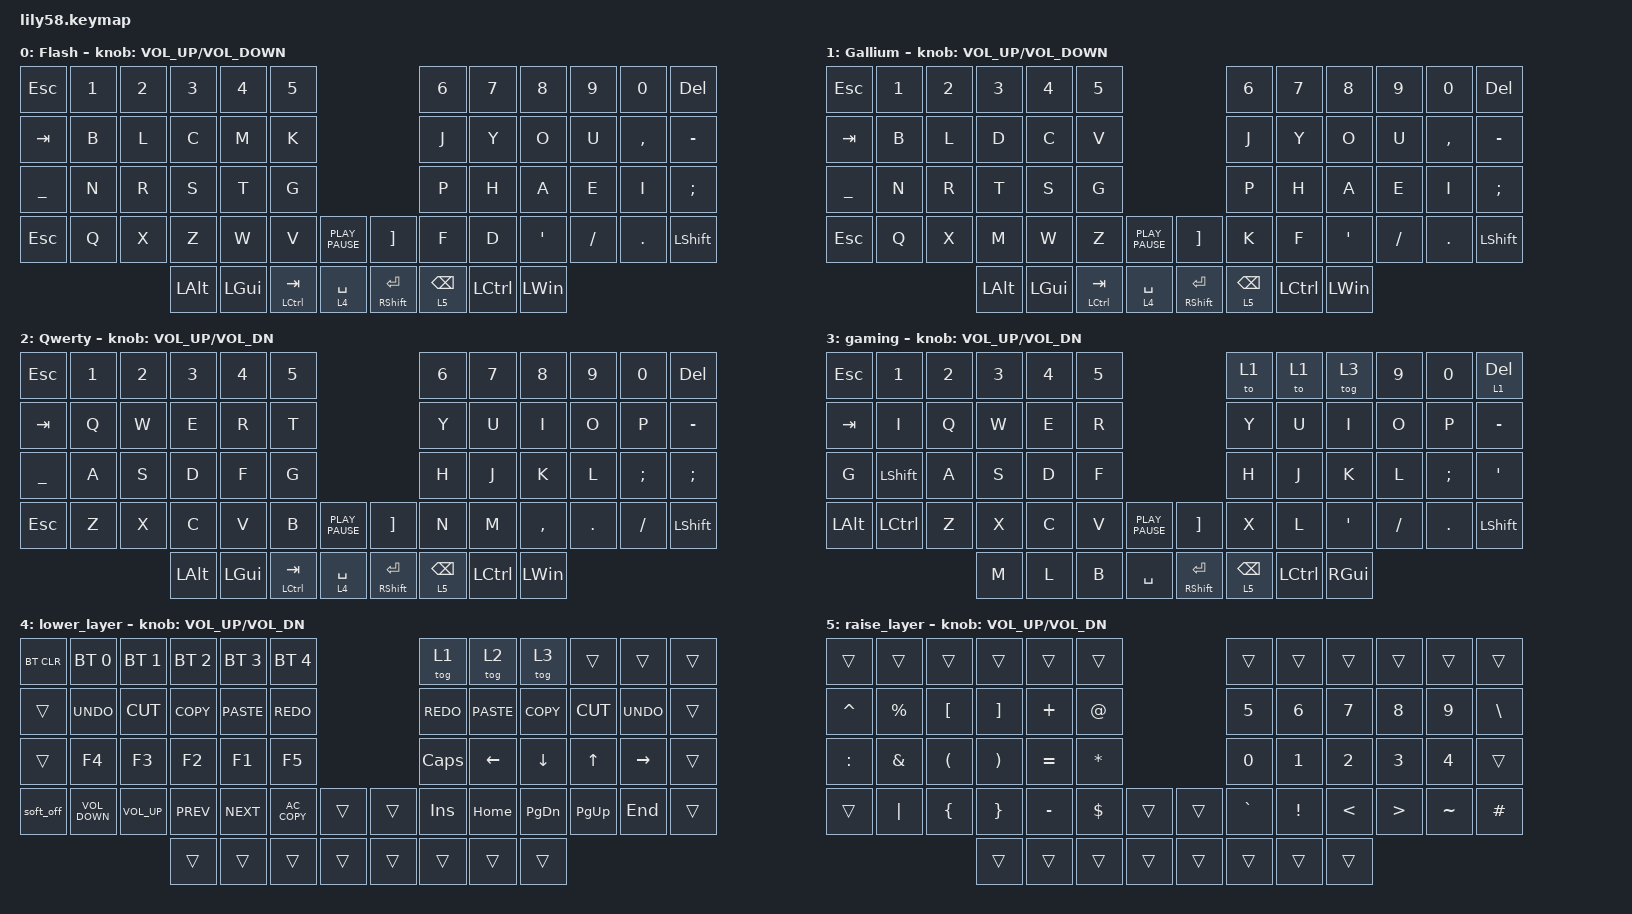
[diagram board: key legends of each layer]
/*
 * Copyright (c) 2020 The ZMK Contributors
 *
 * SPDX-License-Identifier: MIT
 */

#include <behaviors.dtsi>
#include <dt-bindings/zmk/bt.h>
#include <dt-bindings/zmk/keys.h>

/ {
    keymap {
        compatible = "zmk,keymap";

        Flash {
            bindings = <
&kp ESC    &kp N1  &kp N2  &kp N3    &kp N4    &kp N5                                                    &kp N6      &kp N7     &kp N8    &kp N9    &kp N0     &kp DEL
&kp TAB    &kp B   &kp L   &kp C     &kp M     &kp K                                                     &kp J       &kp Y      &kp O     &kp U     &kp COMMA  &kp MINUS
&kp UNDER  &kp N   &kp R   &kp S     &kp T     &kp G                                                     &kp P       &kp H      &kp A     &kp E     &kp I      &kp SEMI
&kp ESC    &kp Q   &kp X   &kp Z     &kp W     &kp V          &kp K_PLAY_PAUSE    &kp RBKT               &kp F       &kp D      &kp SQT   &kp FSLH  &kp DOT    &kp LSHIFT
                           &kp LALT  &kp LGUI  &mt LCTRL TAB  &lt 4 SPACE         &mt RIGHT_SHIFT ENTER  &lt 5 BSPC  &kp LCTRL  &kp LWIN
            >;

            sensor-bindings = <&inc_dec_kp C_VOLUME_UP C_VOLUME_DOWN>;
        };

        Gallium {
            bindings = <
&kp ESC    &kp N1  &kp N2  &kp N3    &kp N4    &kp N5                                                    &kp N6      &kp N7     &kp N8    &kp N9    &kp N0     &kp DEL
&kp TAB    &kp B   &kp L   &kp D     &kp C     &kp V                                                     &kp J       &kp Y      &kp O     &kp U     &kp COMMA  &kp MINUS
&kp UNDER  &kp N   &kp R   &kp T     &kp S     &kp G                                                     &kp P       &kp H      &kp A     &kp E     &kp I      &kp SEMI
&kp ESC    &kp Q   &kp X   &kp M     &kp W     &kp Z          &kp K_PLAY_PAUSE    &kp RBKT               &kp K       &kp F      &kp SQT   &kp FSLH  &kp DOT    &kp LSHIFT
                           &kp LALT  &kp LGUI  &mt LCTRL TAB  &lt 4 SPACE         &mt RIGHT_SHIFT ENTER  &lt 5 BSPC  &kp LCTRL  &kp LWIN
            >;

            sensor-bindings = <&inc_dec_kp C_VOLUME_UP C_VOLUME_DOWN>;
        };

        Qwerty {
            bindings = <
&kp ESC    &kp N1  &kp N2  &kp N3    &kp N4    &kp N5                                             &kp N6      &kp N7     &kp N8     &kp N9   &kp N0    &kp DEL
&kp TAB    &kp Q   &kp W   &kp E     &kp R     &kp T                                              &kp Y       &kp U      &kp I      &kp O    &kp P     &kp MINUS
&kp UNDER  &kp A   &kp S   &kp D     &kp F     &kp G                                              &kp H       &kp J      &kp K      &kp L    &kp SEMI  &kp SEMI
&kp ESC    &kp Z   &kp X   &kp C     &kp V     &kp B          &kp K_PLAY_PAUSE    &kp RBKT        &kp N       &kp M      &kp COMMA  &kp DOT  &kp FSLH  &kp LSHIFT
                           &kp LALT  &kp LGUI  &mt LCTRL TAB  &lt 4 SPACE         &mt RSHIFT RET  &lt 5 BSPC  &kp LCTRL  &kp LWIN
            >;

            sensor-bindings = <&inc_dec_kp C_VOLUME_UP C_VOL_DN>;
        };

        gaming {
            bindings = <
&kp ESC   &kp N1      &kp N2  &kp N3  &kp N4  &kp N5                                      &to 1       &to 1      &tog 3    &kp N9    &kp N0    &lt 1 DEL
&kp TAB   &kp I       &kp Q   &kp W   &kp E   &kp R                                       &kp Y       &kp U      &kp I     &kp O     &kp P     &kp MINUS
&kp G     &kp LSHIFT  &kp A   &kp S   &kp D   &kp F                                       &kp H       &kp J      &kp K     &kp L     &kp SEMI  &kp SQT
&kp LALT  &kp LCTRL   &kp Z   &kp X   &kp C   &kp V   &kp K_PLAY_PAUSE    &kp RBKT        &kp X       &kp L      &kp SQT   &kp FSLH  &kp DOT   &kp LSHIFT
                              &kp M   &kp L   &kp B   &kp SPACE           &mt RSHIFT RET  &lt 5 BSPC  &kp LCTRL  &kp RGUI
            >;

            sensor-bindings = <&inc_dec_kp C_VOLUME_UP C_VOL_DN>;
        };

        lower_layer {
            // ------------------------------------------------------------------------------------------------------------
            // | BTCLR | BT1 | BT2 |  BT3 |  BT4 |  BT5 |                   |      |       |       |      |       |       |
            // |  F1   |  F2 |  F3 |  F4  |  F5  |  F6  |                   |  F7  |  F8   |  F9   |  F10 |  F11  |  F12  |
            // |   `   |  !  |  @  |  #   |  $   |  %   |                   |  ^   |  &    |  *    |  (   |   )   |   ~   |
            // |       |     |     |      |      |      |        |  |       |      |  _    |  +    |  {   |   }   |  "|"  |
            //                     |      |      |      |        |  |       |      |       |       |

            bindings = <
&bt BT_CLR  &bt BT_SEL 0       &bt BT_SEL 1     &bt BT_SEL 2  &bt BT_SEL 3  &bt BT_SEL 4                     &tog 1      &tog 2       &tog 3         &trans       &trans      &trans
&trans      &kp K_UNDO         &kp K_CUT        &kp K_COPY    &kp K_PASTE   &kp K_REDO                       &kp K_REDO  &kp K_PASTE  &kp K_COPY     &kp K_CUT    &kp K_UNDO  &trans
&trans      &kp F4             &kp F3           &kp F2        &kp F1        &kp F5                           &kp CAPS    &kp LEFT     &kp DOWN       &kp UP       &kp RIGHT   &trans
&soft_off   &kp C_VOLUME_DOWN  &kp C_VOLUME_UP  &kp C_PREV    &kp C_NEXT    &kp C_AC_COPY  &trans    &trans  &kp INSERT  &kp HOME     &kp PAGE_DOWN  &kp PAGE_UP  &kp END     &trans
                                                &trans        &trans        &trans         &trans    &trans  &trans      &trans       &trans
            >;

            sensor-bindings = <&inc_dec_kp C_VOLUME_UP C_VOL_DN>;
        };

        raise_layer {
            // ------------------------------------------------------------------------------------------------------------
            // |       |     |     |      |      |      |                   |      |       |       |      |       |       |
            // |   `   |  1  |  2  |  3   |  4   |  5   |                   |  6   |   7   |   8   |  9   |   0   |       |
            // |   F1  |  F2 |  F3 |  F4  |  F5  |  F6  |                   |      |   <-  |   v   |  ^   |  ->   |       |
            // |   F7  |  F8 |  F9 |  F10 |  F11 |  F12 |        |  |       |  +   |   -   |   =   |  [   |   ]   |   \   |
            //                     |      |      |      |        |  |       |      |       |       |

            bindings = <
&trans     &trans       &trans    &trans    &trans     &trans                        &trans     &trans           &trans         &trans  &trans     &trans
&kp CARET  &kp PERCENT  &kp LBKT  &kp RBKT  &kp PLUS   &kp AT                        &kp N5     &kp N6           &kp N7         &kp N8  &kp N9     &kp BACKSLASH
&kp COLON  &kp AMPS     &kp LPAR  &kp RPAR  &kp EQUAL  &kp ASTRK                     &kp N0     &kp N1           &kp N2         &kp N3  &kp N4     &trans
&trans     &kp PIPE     &kp LBRC  &kp RBRC  &kp MINUS  &kp DOLLAR  &trans    &trans  &kp GRAVE  &kp EXCLAMATION  &kp LESS_THAN  &kp GT  &kp TILDE  &kp POUND
                                  &trans    &trans     &trans      &trans    &trans  &trans     &trans           &trans
            >;

            sensor-bindings = <&inc_dec_kp C_VOLUME_UP C_VOL_DN>;
        };
    };
};
